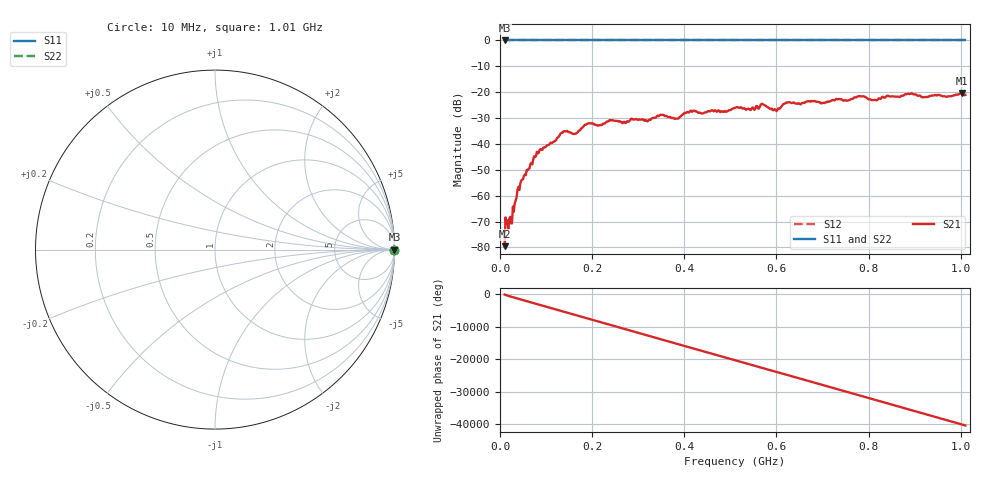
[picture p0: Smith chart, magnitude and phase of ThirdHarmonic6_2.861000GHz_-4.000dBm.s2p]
! 8/17/2025 7:47:21 AM
! C:\ANRITSUVNA\TEMP\TEMP.S2P
! CHANNEL.1
! TR.MEASUREMENT
! RAW.DATA
! RF.CORRECTION.OFF
! AVERAGING.OFF
! IF.BANDWIDTH: 5KHZ
! SWEEPTYPE:  FREQ.SWEEP(Linear)
! Reference Plane Port Info
! PORT:  PORT1  PORT2
! DISTANCE:  0  m  0  m
! TIME:  0  s  0  s
! PHASE.OFFSET:  0  deg.  0  deg.
! LOSS:  0  dB  0  dB
! REF.LOSS:  0  dB  0  dB
! REF.FREQ:  0  Hz  0  Hz
! Power Info
! POWER:  -20  dBm  -20  dBm
! EFF.POWER:  -20  dBm  -20  dBm
! SOURCE.ATTEN:  0  dB  0  dB
! TEST.ATTEN:  0  dB  0  dB
# GHZ S RI R 50.0
! FREQ.GHZ  S11RE  S11IM  S21RE  S21IM  S12RE  S12IM  S22RE  S22IM
!; PortSelection: Port_12
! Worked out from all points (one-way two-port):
!   501 points, 10 MHz to 1.01 GHz, reference 50 ohm
!   highest |S21| = -20.33 dB at 1.002 GHz (marker M1); lowest = -79.5 dB at 10 MHz (marker M2)
!   lowest |S11| = 0.0 dB at 10 MHz (marker M3)
!   |S11| at or under -10 dB: nowhere
!   |S22| runs from 0.0 to 0.0 dB; largest |S21 - S12| = 1.1
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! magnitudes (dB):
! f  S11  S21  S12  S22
! 10 MHz  0.0  -79.5  0.0  0.0
! 16 MHz  0.0  -69.5  0.0  0.0
! 22 MHz  0.0  -68.2  0.0  0.0
! 28 MHz  0.0  -64.2  0.0  0.0
! 42 MHz  0.0  -57.8  0.0  0.0
! 78 MHz  0.0  -44.8  0.0  0.0
! 136 MHz  0.0  -35.6  0.0  0.0
! 162 MHz  0.0  -36.1  0.0  0.0
! 178 MHz  0.0  -33.8  0.0  0.0
! 192 MHz  0.0  -32.0  0.0  0.0
! 322 MHz  0.0  -30.9  0.0  0.0
! 344 MHz  0.0  -29.3  0.0  0.0
! 384 MHz  0.0  -30.2  0.0  0.0
! 416 MHz  0.0  -27.5  0.0  0.0
! 510 MHz  0.0  -26.0  0.0  0.0
! 570 MHz  0.0  -24.6  0.0  0.0
! 598 MHz  0.0  -26.7  0.0  0.0
! 624 MHz  0.0  -24.0  0.0  0.0
! 678 MHz  0.0  -23.4  0.0  0.0
! 844 MHz  0.0  -21.5  0.0  0.0
! 1.002 GHz  0.0  -20.3  0.0  0.0
! 1.01 GHz  0.0  -21.1  0.0  0.0
